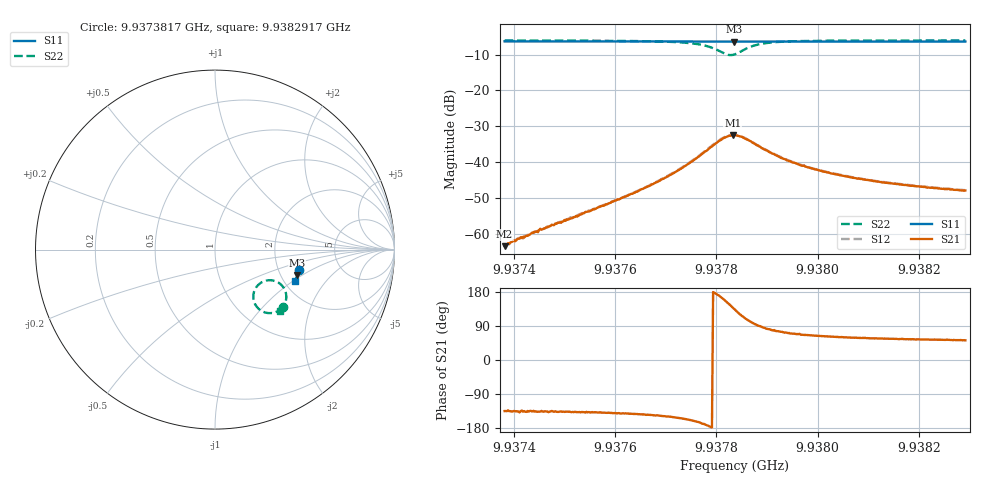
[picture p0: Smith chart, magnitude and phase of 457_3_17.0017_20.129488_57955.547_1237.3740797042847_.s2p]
#  HZ  S  RI  R  50.00
! Rohde & Schwarz Vector Network Analyzer
! Rohde-Schwarz,ZNB20-2Port,1311601062101988,3.16
! Created: UTC 3/20/2024, 11:12:37 PM
! freq[Hz]  re:S11  im:S11  re:S21  im:S21  re:S12  im:S12  re:S22  im:S22
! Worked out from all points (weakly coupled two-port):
!   401 points, 9.9373817 GHz to 9.9382917 GHz, reference 50 ohm
!   highest |S21| = -32.52 dB at 9.9378322 GHz (marker M1); lowest = -63.5 dB at 9.9373817 GHz (marker M2)
!   lowest |S11| = -6.4 dB at 9.9378344 GHz (marker M3), VSWR 2.84, Z = 122 - j45.1 ohm
!   |S11| at or under -10 dB: nowhere
!   |S22| runs from -10.2 to -6.1 dB; largest |S21 - S12| = 0.001
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9.93738168e9  0.4697 -0.1138  -0.000471 -0.000475  -0.000531 -0.0005  0.3789 -0.3222
9.93738851e9  0.4696 -0.1145  -0.000499 -0.000537  -0.00051 -0.000517  0.3783 -0.3226
9.93739761e9  0.4692 -0.1149  -0.000557 -0.000545  -0.000591 -0.000551  0.3776 -0.3233
9.93743856e9  0.4683 -0.1177  -0.000716 -0.000739  -0.000751 -0.00071  0.374 -0.3267
9.93753412e9  0.4664 -0.1241  -0.00137 -0.00128  -0.00146 -0.00127  0.3634 -0.3347
9.93762512e9  0.4642 -0.1302  -0.00264 -0.00213  -0.00273 -0.00212  0.3479 -0.344
9.93768655e9  0.4624 -0.1343  -0.00453 -0.00298  -0.00469 -0.00296  0.329 -0.3511
9.9377366e9  0.4609 -0.1378  -0.00787 -0.00362  -0.00804 -0.00355  0.2993 -0.354
9.93777983e9  0.4592 -0.1405  -0.014 -0.00213  -0.0145 -0.00181  0.2493 -0.3348
9.93781168e9  0.4576 -0.1419  -0.0202 0.00626  -0.0203 0.00674  0.2135 -0.2615
9.93782305e9  0.4572 -0.142  -0.0199 0.0116  -0.0198 0.0122  0.2237 -0.22
9.93783215e9  0.4571 -0.1419  -0.0176 0.0158  -0.0175 0.0164  0.2472 -0.1912
9.93783443e9  0.457 -0.1419  -0.0168 0.0165  -0.0166 0.0173  0.2545 -0.1857
9.9378367e9  0.4572 -0.1421  -0.016 0.0173  -0.0156 0.0182  0.2626 -0.1809
9.93785036e9  0.4574 -0.1425  -0.00987 0.0201  -0.00958 0.0204  0.3128 -0.1707
9.93786401e9  0.4577 -0.1433  -0.00474 0.0196  -0.00417 0.0197  0.3526 -0.1835
9.93789131e9  0.4579 -0.1451  0.00105 0.0155  0.00135 0.0156  0.389 -0.2244
9.93793681e9  0.4571 -0.1488  0.00321 0.0104  0.00368 0.0103  0.3971 -0.27
9.93798914e9  0.4558 -0.1525  0.00344 0.00735  0.00363 0.00734  0.3915 -0.2956
9.93806877e9  0.4539 -0.1577  0.00311 0.00519  0.00324 0.00518  0.3819 -0.3156
9.93814157e9  0.4518 -0.1627  0.00284 0.00419  0.00295 0.00422  0.3745 -0.3264
9.93829172e9  0.4476 -0.1724  0.00248 0.00315  0.00252 0.00313  0.362 -0.3406
